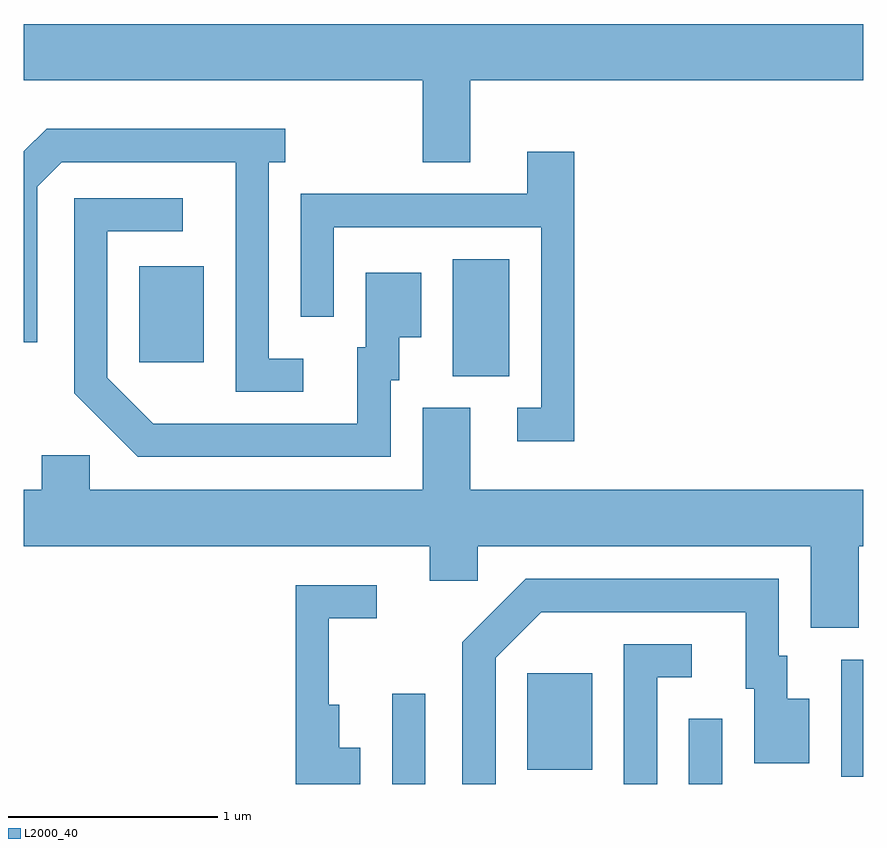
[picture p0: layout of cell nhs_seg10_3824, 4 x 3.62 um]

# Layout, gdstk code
import gdstk
lib = gdstk.Library(unit=1e-6, precision=1e-09)
def R(c, l, rs):  # rectangles x0, y0, x1, y1
    for r in rs: c.add(gdstk.rectangle(r[:2], r[2:], *l))
def P(c, l, *ps):  # polygons
    for p in ps: c.add(gdstk.Polygon(p, *l))
L2000_40 = (2000, 40)

nhs_seg10_3824 = lib.new_cell('nhs_seg10_3824')
R(nhs_seg10_3824, L2000_40, [(299.366,2150.522,299.524,2150.953), (300.781,2150.522,300.939,2150.833), (301.506,2150.556,301.611,2151.114), (300.011,2150.591,300.319,2151.049), (299.656,2152.466,299.924,2153.024), (298.161,2152.531,298.469,2152.989)])
P(nhs_seg10_3824, L2000_40, [(299.739,2153.876),(301.611,2153.876),(301.611,2154.144),(297.611,2154.144),(297.611,2153.876),(299.511,2153.876),(299.511,2153.486),(299.739,2153.486)],
  [(298.943,2152.549),(298.779,2152.549),(298.779,2153.486),(298.858,2153.486),(298.858,2153.644),(297.719,2153.644),(297.611,2153.537),(297.611,2152.628),(297.674,2152.628),(297.674,2153.369),(297.792,2153.486),(298.621,2153.486),(298.621,2152.391),(298.943,2152.391)],
  [(300.234,2153.534),(300.011,2153.534),(300.011,2153.334),(298.931,2153.334),(298.931,2152.748),(299.089,2152.748),(299.089,2153.176),(300.076,2153.176),(300.076,2152.314),(299.963,2152.314),(299.963,2152.156),(300.234,2152.156)],
  [(299.359,2152.446),(299.399,2152.446),(299.399,2152.651),(299.504,2152.651),(299.504,2152.959),(299.241,2152.959),(299.241,2152.604),(299.201,2152.604),(299.201,2152.239),(298.227,2152.239),(298.009,2152.457),(298.009,2153.156),(298.368,2153.156),(298.368,2153.314),(297.851,2153.314),(297.851,2152.384),(298.154,2152.081),(299.359,2152.081)],
  [(301.589,2151.656),(301.611,2151.656),(301.611,2151.924),(299.739,2151.924),(299.739,2152.314),(299.511,2152.314),(299.511,2151.924),(297.924,2151.924),(297.924,2152.089),(297.696,2152.089),(297.696,2151.924),(297.611,2151.924),(297.611,2151.656),(299.546,2151.656),(299.546,2151.491),(299.774,2151.491),(299.774,2151.656),(301.361,2151.656),(301.361,2151.266),(301.589,2151.266)],
  [(299.859,2151.124),(300.077,2151.341),(301.051,2151.341),(301.051,2150.976),(301.091,2150.976),(301.091,2150.621),(301.354,2150.621),(301.354,2150.929),(301.249,2150.929),(301.249,2151.134),(301.209,2151.134),(301.209,2151.499),(300.004,2151.499),(299.701,2151.197),(299.701,2150.522),(299.859,2150.522)],
  [(299.214,2150.694),(299.114,2150.694),(299.114,2150.899),(299.064,2150.899),(299.064,2151.311),(299.293,2151.311),(299.293,2151.469),(298.906,2151.469),(298.906,2150.522),(299.214,2150.522)],
  [(300.629,2151.031),(300.793,2151.031),(300.793,2151.189),(300.471,2151.189),(300.471,2150.522),(300.629,2150.522)])

lib.write_gds('nhs_seg10_3824.gds')
